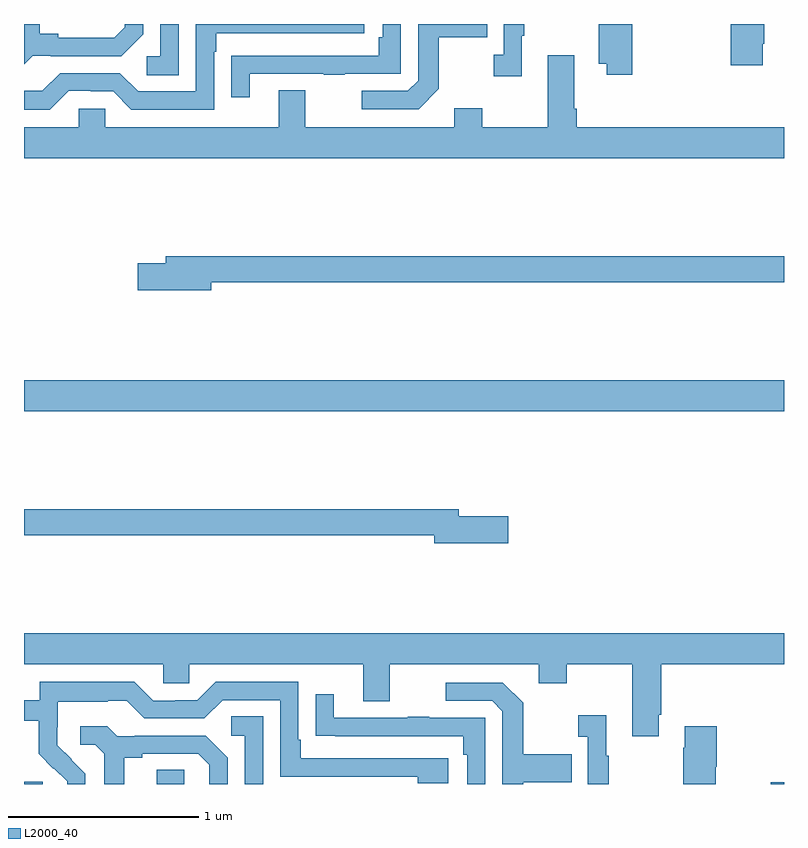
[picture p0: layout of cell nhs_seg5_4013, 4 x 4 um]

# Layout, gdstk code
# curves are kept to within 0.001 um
import gdstk
lib = gdstk.Library(unit=1e-6, precision=1e-09)
def R(c, l, rs):  # rectangles x0, y0, x1, y1
    for r in rs: c.add(gdstk.rectangle(r[:2], r[2:], *l))
def P(c, l, *ps):  # polygons
    for p in ps: c.add(gdstk.Polygon(p, *l))
L2000_40 = (2000, 40)

nhs_seg5_4013 = lib.new_cell('nhs_seg5_4013')
R(nhs_seg5_4013, L2000_40, [(347,854.799,347.098,854.811), (347.699,854.799,347.844,854.873), (350.929,854.799,351,854.809), (347,856.76,351,856.924)])
P(nhs_seg5_4013, L2000_40, [(349.621,858.737),(349.633,858.737),(349.633,858.799),(349.524,858.799),(349.524,858.638),(349.473,858.638),(349.473,858.525),(349.621,858.525)],
  [(349.183,858.457),(349.183,858.73),(349.439,858.73),(349.439,858.799),(349.074,858.799),(349.074,858.501),(349.02,858.447),(348.777,858.447),(348.777,858.351),(349.077,858.351)],
  [(347.235,858.447),(347.351,858.447),(347.351,858.444),(347.469,858.444),(347.565,858.348),(348,858.348),(348,858.653),(348.013,858.653),(348.013,858.75),(348.79,858.75),(348.79,858.799),(347.904,858.799),(347.904,858.444),(347.601,858.444),(347.505,858.54),(347.19,858.54),(347.097,858.447),(347,858.447),(347,858.347),(347.135,858.347)],
  [(350.887,858.694),(350.895,858.694),(350.895,858.799),(350.72,858.799),(350.72,858.582),(350.887,858.582)],
  [(347.046,858.633),(347.14,858.633),(347.14,858.63),(347.512,858.63),(347.628,858.746),(347.628,858.799),(347.531,858.799),(347.531,858.783),(347.474,858.726),(347.179,858.726),(347.179,858.749),(347.083,858.749),(347.083,858.799),(347,858.799),(347,858.587)],
  [(350.201,858.799),(350.026,858.799),(350.026,858.59),(350.066,858.59),(350.066,858.531),(350.201,858.531)],
  [(347.814,858.799),(347.718,858.799),(347.718,858.63),(347.646,858.63),(347.646,858.529),(347.814,858.529)],
  [(348.187,858.537),(348.577,858.537),(348.577,858.532),(348.689,858.532),(348.689,858.537),(348.984,858.537),(348.984,858.799),(348.888,858.799),(348.888,858.73),(348.868,858.73),(348.868,858.633),(348.193,858.633),(348.193,858.632),(348.091,858.632),(348.091,858.414),(348.187,858.414)],
  [(351,858.256),(349.91,858.256),(349.91,858.352),(349.897,858.352),(349.897,858.634),(349.757,858.634),(349.757,858.256),(349.413,858.256),(349.413,858.355),(349.265,858.355),(349.265,858.256),(348.481,858.256),(348.481,858.451),(348.341,858.451),(348.341,858.256),(347.427,858.256),(347.427,858.354),(347.289,858.354),(347.289,858.256),(347,858.256),(347,858.092),(351,858.092)],
  [(347.986,857.44),(351,857.44),(351,857.576),(347.747,857.576),(347.747,857.54),(347.598,857.54),(347.598,857.398),(347.986,857.398)],
  [(349.549,856.208),(349.288,856.208),(349.288,856.244),(347,856.244),(347,856.108),(349.16,856.108),(349.16,856.066),(349.549,856.066)],
  [(350.341,855.163),(350.354,855.163),(350.354,855.428),(351,855.428),(351,855.592),(347,855.592),(347,855.428),(347.733,855.428),(347.733,855.33),(347.871,855.33),(347.871,855.428),(348.785,855.428),(348.785,855.234),(348.925,855.234),(348.925,855.428),(349.709,855.428),(349.709,855.329),(349.857,855.329),(349.857,855.428),(350.201,855.428),(350.201,855.051),(350.341,855.051)],
  [(347.322,854.854),(347.176,855.002),(347.176,855.099),(347.178,855.099),(347.178,855.233),(347.441,855.233),(347.441,855.237),(347.541,855.237),(347.634,855.144),(347.949,855.144),(348.045,855.24),(348.348,855.24),(348.348,854.838),(349.073,854.838),(349.073,854.804),(349.234,854.804),(349.234,854.934),(348.457,854.934),(348.457,855.031),(348.444,855.031),(348.444,855.336),(348.009,855.336),(347.913,855.24),(347.795,855.24),(347.795,855.237),(347.679,855.237),(347.579,855.337),(347.082,855.337),(347.082,855.24),(347,855.24),(347,855.132),(347.077,855.132),(347.077,854.957),(347.154,854.88),(347.157,854.883),(347.228,854.813),(347.228,854.799),(347.322,854.799)],
  [(349.627,854.807),(349.883,854.807),(349.883,854.955),(349.627,854.955),(349.627,855.227),(349.521,855.333),(349.221,855.333),(349.221,855.237),(349.464,855.237),(349.518,855.183),(349.518,854.799),(349.627,854.799)],
  [(349.428,855.147),(349.133,855.147),(349.133,855.152),(349.021,855.152),(349.021,855.147),(348.631,855.147),(348.631,855.271),(348.535,855.271),(348.535,855.052),(348.637,855.052),(348.637,855.051),(349.312,855.051),(349.312,854.954),(349.332,854.954),(349.332,854.799),(349.428,854.799)],
  [(350.077,854.947),(350.065,854.947),(350.065,855.16),(349.917,855.16),(349.917,855.047),(349.968,855.047),(349.968,854.799),(350.077,854.799)],
  [(348.258,855.155),(348.09,855.155),(348.09,855.054),(348.162,855.054),(348.162,854.799),(348.258,854.799)],
  [(347.527,854.936),(347.623,854.936),(347.623,854.958),(347.918,854.958),(347.975,854.901),(347.975,854.799),(348.072,854.799),(348.072,854.938),(347.956,855.054),(347.584,855.054),(347.584,855.051),(347.49,855.051),(347.438,855.103),(347.295,855.103),(347.295,855.006),(347.376,855.006),(347.423,854.959),(347.423,854.799),(347.527,854.799)],
  [(350.64,854.89),(350.645,854.89),(350.645,855.103),(350.477,855.103),(350.477,854.99),(350.47,854.99),(350.47,854.799),(350.64,854.799)])

lib.write_gds('nhs_seg5_4013.gds')
